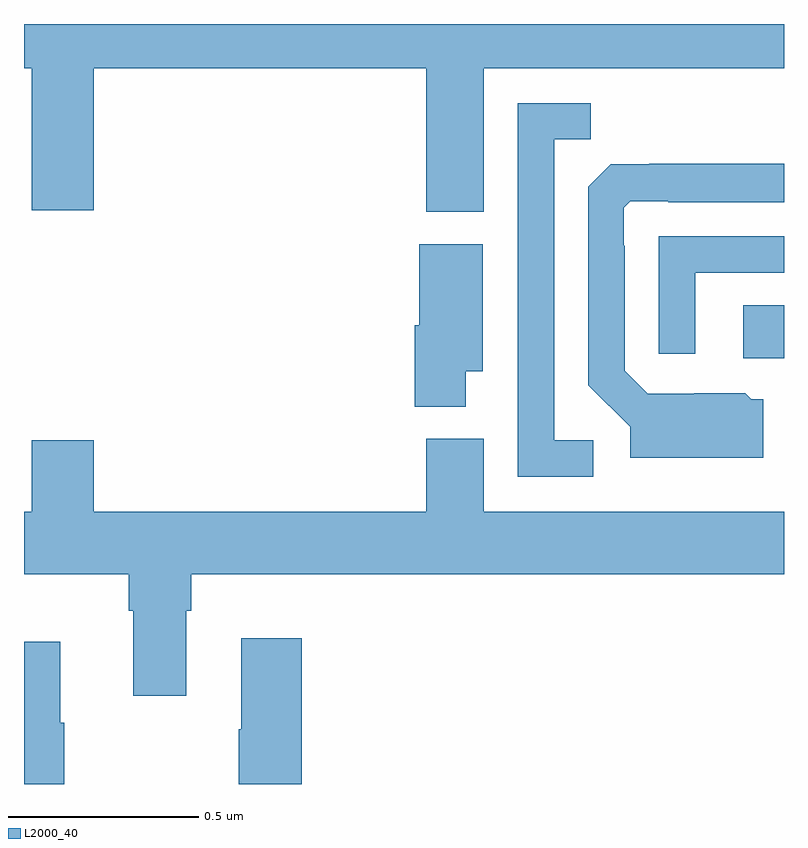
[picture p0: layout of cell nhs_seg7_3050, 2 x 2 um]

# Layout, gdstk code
import gdstk
lib = gdstk.Library(unit=1e-6, precision=1e-09)
def R(c, l, rs):  # rectangles x0, y0, x1, y1
    for r in rs: c.add(gdstk.rectangle(r[:2], r[2:], *l))
def P(c, l, *ps):  # polygons
    for p in ps: c.add(gdstk.Polygon(p, *l))
L2000_40 = (2000, 40)

nhs_seg7_3050 = lib.new_cell('nhs_seg7_3050')
R(nhs_seg7_3050, L2000_40, [(154.893,1065.12,155,1065.26)])
P(nhs_seg7_3050, L2000_40, [(154.21,1065.884),(155,1065.884),(155,1066),(153,1066),(153,1065.884),(153.02,1065.884),(153.02,1065.51),(153.184,1065.51),(153.184,1065.884),(154.058,1065.884),(154.058,1065.506),(154.21,1065.506)],
  [(154.498,1064.904),(154.395,1064.904),(154.395,1065.697),(154.491,1065.697),(154.491,1065.792),(154.299,1065.792),(154.299,1064.808),(154.498,1064.808)],
  [(154.945,1065.012),(154.914,1065.012),(154.898,1065.028),(154.764,1065.028),(154.764,1065.027),(154.641,1065.027),(154.581,1065.087),(154.581,1065.416),(154.578,1065.416),(154.578,1065.516),(154.596,1065.534),(154.696,1065.534),(154.696,1065.531),(155,1065.531),(155,1065.632),(154.645,1065.632),(154.645,1065.631),(154.544,1065.631),(154.485,1065.572),(154.485,1065.05),(154.595,1064.94),(154.595,1064.858),(154.945,1064.858)],
  [(154.767,1065.345),(155,1065.345),(155,1065.441),(154.671,1065.441),(154.671,1065.132),(154.767,1065.132)],
  [(154.162,1065.086),(154.207,1065.086),(154.207,1065.421),(154.04,1065.421),(154.04,1065.207),(154.028,1065.207),(154.028,1064.993),(154.162,1064.993)],
  [(153.427,1064.456),(153.44,1064.456),(153.44,1064.552),(155,1064.552),(155,1064.716),(154.21,1064.716),(154.21,1064.908),(154.058,1064.908),(154.058,1064.716),(153.184,1064.716),(153.184,1064.905),(153.02,1064.905),(153.02,1064.716),(153,1064.716),(153,1064.552),(153.275,1064.552),(153.275,1064.456),(153.287,1064.456),(153.287,1064.232),(153.427,1064.232)],
  [(153.731,1064.383),(153.572,1064.383),(153.572,1064.144),(153.565,1064.144),(153.565,1064),(153.731,1064)],
  [(153.106,1064.161),(153.095,1064.161),(153.095,1064.374),(153,1064.374),(153,1064),(153.106,1064)])

lib.write_gds('nhs_seg7_3050.gds')
